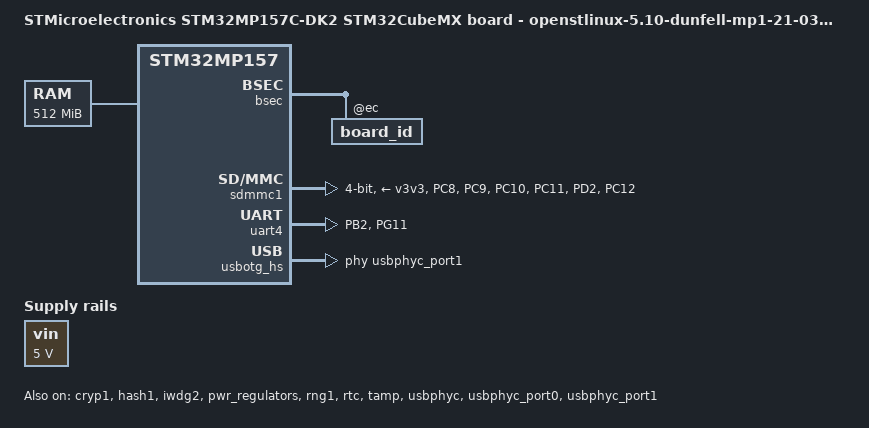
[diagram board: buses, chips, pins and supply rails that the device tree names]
/* SPDX-License-Identifier: (GPL-2.0+ OR BSD-3-Clause) */
/*
 * Copyright (C) STMicroelectronics 2021 - All Rights Reserved
 * Author: STM32CubeMX code generation for STMicroelectronics.
 */

/* For more information on Device Tree configuration, please refer to
 * https://wiki.st.com/stm32mpu/wiki/Category:Device_tree_configuration
 */

/dts-v1/;
#include <dt-bindings/pinctrl/stm32-pinfunc.h>
#include <dt-bindings/clock/stm32mp1-clksrc.h>
#include <dt-bindings/soc/st,stm32-etzpc.h>
#include "stm32mp15-mx.dtsi"

#include "stm32mp157.dtsi"
#include "stm32mp15xc.dtsi"
#include "stm32mp15xxac-pinctrl.dtsi"
#include "stm32mp15-ddr.dtsi"

/* USER CODE BEGIN includes */
#include <dt-bindings/power/stm32mp1-power.h>
/* USER CODE END includes */

/ {
	model = "STMicroelectronics STM32MP157C-DK2 STM32CubeMX board - openstlinux-5.10-dunfell-mp1-21-03-31";
	compatible = "st,stm32mp157c-race-mx", "st,stm32mp157";

	/* USER CODE BEGIN root */

	memory@c0000000{
		device_type = "memory";
		reg = <0xc0000000 0x20000000>;
	};

	vin:vin{
		compatible = "regulator-fixed";
		regulator-name = "vin";
		regulator-min-microvolt = <5000000>;
		regulator-max-microvolt = <5000000>;
		regulator-always-on;
	};

	aliases{
		serial0 = &uart4;
		serial1 = &usart3;
		serial2 = &uart7;
		serial3 = &usart2;
	};

	chosen{
		stdout-path = "serial0:115200n8";
	};
	/* USER CODE END root */

	clocks {
		/* USER CODE BEGIN clocks */
		/* USER CODE END clocks */

		clk_lse: clk-lse {
			st,drive = < LSEDRV_MEDIUM_HIGH >;

			/* USER CODE BEGIN clk_lse */
			/* USER CODE END clk_lse */
		};

		clk_hse: clk-hse {
			st,digbypass;

			/* USER CODE BEGIN clk_hse */
			/* USER CODE END clk_hse */
		};
	};

}; /*root*/

&pinctrl {
	rtc_pins_mx: rtc_mx-0 {
		pins {
			pinmux = <STM32_PINMUX('I', 8, ANALOG)>; /* RTC_LSCO */
		};
	};

	sdmmc1_pins_mx: sdmmc1_mx-0 {
		pins1 {
			pinmux = <STM32_PINMUX('C', 8, AF12)>, /* SDMMC1_D0 */
					 <STM32_PINMUX('C', 9, AF12)>, /* SDMMC1_D1 */
					 <STM32_PINMUX('C', 10, AF12)>, /* SDMMC1_D2 */
					 <STM32_PINMUX('C', 11, AF12)>, /* SDMMC1_D3 */
					 <STM32_PINMUX('D', 2, AF12)>; /* SDMMC1_CMD */
			bias-disable;
			drive-push-pull;
			slew-rate = <1>;
		};
		pins2 {
			pinmux = <STM32_PINMUX('C', 12, AF12)>; /* SDMMC1_CK */
			bias-disable;
			drive-push-pull;
			slew-rate = <2>;
		};
	};

	uart4_pins_mx: uart4_mx-0 {
		pins1 {
			pinmux = <STM32_PINMUX('B', 2, AF8)>; /* UART4_RX */
			bias-disable;
		};
		pins2 {
			pinmux = <STM32_PINMUX('G', 11, AF6)>; /* UART4_TX */
			bias-disable;
			drive-push-pull;
			slew-rate = <0>;
		};
	};

	/* USER CODE BEGIN pinctrl */
	/* USER CODE END pinctrl */
};

&pinctrl_z {
	/* USER CODE BEGIN pinctrl_z */
	/* USER CODE END pinctrl_z */
};

&rcc {
	st,csi-cal;
	st,hsi-cal;
	st,cal-sec = <60>;
	st,clksrc = <
		CLK_MPU_PLL1P
		CLK_AXI_PLL2P
		CLK_MCU_PLL3P
		CLK_PLL12_HSE
		CLK_PLL3_HSE
		CLK_PLL4_HSE
		CLK_RTC_LSE
		CLK_MCO1_DISABLED
		CLK_MCO2_DISABLED
	>;
	st,clkdiv = <
		1 		/*MPU*/
		0 		/*AXI*/
		0 		/*MCU*/
		1 		/*APB1*/
		1 		/*APB2*/
		1 		/*APB3*/
		1 		/*APB4*/
		2 		/*APB5*/
		23 		/*RTC*/
		0 		/*MCO1*/
		0 		/*MCO2*/
	>;
	st,pkcs = <
		CLK_CKPER_HSE
		CLK_ETH_PLL4P
		CLK_SDMMC12_PLL4P
		CLK_DSI_DSIPLL
		CLK_STGEN_HSE
		CLK_USBPHY_HSE
		CLK_SPI2S1_DISABLED
		CLK_SPI2S23_PLL3Q
		CLK_SPI45_DISABLED
		CLK_SPI6_DISABLED
		CLK_I2C46_DISABLED
		CLK_SDMMC3_DISABLED
		CLK_USBO_USBPHY
		CLK_ADC_CKPER
		CLK_CEC_LSE
		CLK_I2C12_DISABLED
		CLK_I2C35_PCLK1
		CLK_UART1_DISABLED
		CLK_UART24_HSI
		CLK_UART35_DISABLED
		CLK_UART6_DISABLED
		CLK_UART78_DISABLED
		CLK_SPDIF_DISABLED
		CLK_SAI1_DISABLED
		CLK_SAI2_PLL3Q
		CLK_SAI3_DISABLED
		CLK_SAI4_DISABLED
		CLK_RNG1_LSI
		CLK_LPTIM1_DISABLED
		CLK_LPTIM23_DISABLED
		CLK_LPTIM45_DISABLED
	>;
	pll2:st,pll@1 {
		compatible = "st,stm32mp1-pll";
		reg = <1>;
		cfg = < 2 65 1 0 0 PQR(1,1,1) >;
		frac = < 0x1400 >;
	};
	pll3:st,pll@2 {
		compatible = "st,stm32mp1-pll";
		reg = <2>;
		cfg = < 1 33 1 16 36 PQR(1,1,0) >;
		frac = < 0x1a04 >;
	};
	pll4:st,pll@3 {
		compatible = "st,stm32mp1-pll";
		reg = <3>;
		cfg = < 3 98 5 7 7 PQR(1,1,0) >;
	};
};

&bsec{
	status = "okay";
	secure-status = "okay";

	/* USER CODE BEGIN bsec */

	board_id:board_id@ec{
		reg = <0xec 0x4>;
		st,non-secure-otp;
	};
	/* USER CODE END bsec */
};

&cryp1{
	status = "okay";

	/* USER CODE BEGIN cryp1 */
	/* USER CODE END cryp1 */
};

&etzpc{
	st,decprot = <
	/*"Non Secured" peripherals*/
	DECPROT(STM32MP1_ETZPC_ADC_ID, DECPROT_NS_RW, DECPROT_UNLOCK)
	DECPROT(STM32MP1_ETZPC_CRYP1_ID, DECPROT_NS_RW, DECPROT_UNLOCK)
	DECPROT(STM32MP1_ETZPC_DMA1_ID, DECPROT_NS_RW, DECPROT_UNLOCK)
	DECPROT(STM32MP1_ETZPC_DMA2_ID, DECPROT_NS_RW, DECPROT_UNLOCK)
	DECPROT(STM32MP1_ETZPC_DMAMUX_ID, DECPROT_NS_RW, DECPROT_UNLOCK)
	DECPROT(STM32MP1_ETZPC_ETH_ID, DECPROT_NS_RW, DECPROT_UNLOCK)
	DECPROT(STM32MP1_ETZPC_HASH1_ID, DECPROT_NS_RW, DECPROT_UNLOCK)
	DECPROT(STM32MP1_ETZPC_CEC_ID, DECPROT_NS_RW, DECPROT_UNLOCK)
	DECPROT(STM32MP1_ETZPC_SPI2_ID, DECPROT_NS_RW, DECPROT_UNLOCK)
	DECPROT(STM32MP1_ETZPC_RNG1_ID, DECPROT_NS_RW, DECPROT_UNLOCK)
	DECPROT(STM32MP1_ETZPC_SAI2_ID, DECPROT_NS_RW, DECPROT_UNLOCK)
	DECPROT(STM32MP1_ETZPC_UART4_ID, DECPROT_NS_RW, DECPROT_UNLOCK)
	DECPROT(STM32MP1_ETZPC_OTG_ID, DECPROT_NS_RW, DECPROT_UNLOCK)
	DECPROT(STM32MP1_ETZPC_VREFBUF_ID, DECPROT_NS_RW, DECPROT_UNLOCK)
	/*"NS_R S_W" peripherals*/
	DECPROT(STM32MP1_ETZPC_DDRCTRL_ID, DECPROT_NS_R_S_W, DECPROT_LOCK)
	DECPROT(STM32MP1_ETZPC_DDRPHYC_ID, DECPROT_NS_R_S_W, DECPROT_LOCK)
	/*"Secured" peripherals*/
	DECPROT(STM32MP1_ETZPC_STGENC_ID, DECPROT_S_RW, DECPROT_UNLOCK)
	/*"Mcu Isolation" peripherals*/
	DECPROT(STM32MP1_ETZPC_I2C5_ID, DECPROT_MCU_ISOLATION, DECPROT_UNLOCK)
	DECPROT(STM32MP1_ETZPC_TIM3_ID, DECPROT_MCU_ISOLATION, DECPROT_UNLOCK)

	/*Restriction: following IDs are not managed  - please to use User-Section if needed:
		STM32MP1_ETZPC_SRAMx_ID, STM32MP1_ETZPC_RETRAM_ID, STM32MP1_ETZPC_BKPSRAM_ID*/

	/* USER CODE BEGIN etzpc_decprot */
		/*STM32CubeMX generates a basic and standard configuration for ETZPC.
		Additional device configurations can be added here if needed.
		"etzpc" node could be also overloaded in "addons" User-Section.*/

	DECPROT(STM32MP1_ETZPC_BKPSRAM_ID, DECPROT_S_RW, DECPROT_UNLOCK)
	/* USER CODE END etzpc_decprot */
	>;

	secure-status = "okay";

	/* USER CODE BEGIN etzpc */
	/* USER CODE END etzpc */
};

&hash1{
	status = "okay";

	/* USER CODE BEGIN hash1 */
	/* USER CODE END hash1 */
};

&iwdg2{
	status = "okay";
	secure-status = "okay";

	/* USER CODE BEGIN iwdg2 */
	timeout-sec = <32>;
	secure-timeout-sec = <5>;
	/* USER CODE END iwdg2 */
};

&pwr_regulators{
	status = "okay";
	secure-status = "okay";

	/* USER CODE BEGIN pwr_regulators */
	system_suspend_supported_soc_modes = <
		STM32_PM_CSLEEP_RUN
		STM32_PM_CSTOP_ALLOW_LP_STOP
		STM32_PM_CSTOP_ALLOW_STANDBY_DDR_SR
	>;
	system_off_soc_mode = <STM32_PM_CSTOP_ALLOW_STANDBY_DDR_OFF>;
	vdd-supply = <&vdd>;
	vdd_3v3_usbfs-supply = <&vdd_usb>;
	/* USER CODE END pwr_regulators */
};

&rcc{
	status = "okay";
	secure-status = "okay";

	/* USER CODE BEGIN rcc */
	/* USER CODE END rcc */
};

&rng1{
	status = "okay";
	secure-status = "okay";

	/* USER CODE BEGIN rng1 */
	/* USER CODE END rng1 */
};

&rtc{
	pinctrl-names = "default";
	pinctrl-0 = <&rtc_pins_mx>;
	status = "okay";
	secure-status = "okay";

	/* USER CODE BEGIN rtc */
	/* USER CODE END rtc */
};

&sdmmc1{
	pinctrl-names = "default";
	pinctrl-0 = <&sdmmc1_pins_mx>;
	status = "okay";

	/* USER CODE BEGIN sdmmc1 */
	disable-wp;
	st,neg-edge;
	bus-width = <4>;
	vmmc-supply = <&v3v3>;
	/* USER CODE END sdmmc1 */
};

&tamp{
	status = "okay";
	secure-status = "okay";

	/* USER CODE BEGIN tamp */
	/* USER CODE END tamp */
};

&uart4{
	pinctrl-names = "default";
	pinctrl-0 = <&uart4_pins_mx>;
	status = "okay";

	/* USER CODE BEGIN uart4 */
	/* USER CODE END uart4 */
};

&usbotg_hs{
	status = "okay";

	/* USER CODE BEGIN usbotg_hs */
	phys = <&usbphyc_port1 0>;
	phy-names = "usb2-phy";
	usb-role-switch;
	/* USER CODE END usbotg_hs */
};

&usbphyc{
	status = "okay";

	/* USER CODE BEGIN usbphyc */
	/* USER CODE END usbphyc */
};

&usbphyc_port0{
	status = "okay";

	/* USER CODE BEGIN usbphyc_port0 */
	phy-supply = <&vdd_usb>;
	/* USER CODE END usbphyc_port0 */
};

&usbphyc_port1{
	status = "okay";

	/* USER CODE BEGIN usbphyc_port1 */
	phy-supply = <&vdd_usb>;
	/* USER CODE END usbphyc_port1 */
};

/* USER CODE BEGIN addons */

&cpu0{
	cpu-supply = <&vddcore>;
};

&cpu1{
	cpu-supply = <&vddcore>;
};

&nvmem_layout{
	nvmem-cells = <&cfg0_otp>,
			<&part_number_otp>,
			<&monotonic_otp>,
			<&nand_otp>,
			<&uid_otp>,
			<&package_otp>,
			<&hw2_otp>,
			<&pkh_otp>,
			<&board_id>;
	nvmem-cell-names = "cfg0_otp",
			"part_number_otp",
			"monotonic_otp",
			"nand_otp",
			"uid_otp",
			"package_otp",
			"hw2_otp",
			"pkh_otp",
			"board_id";
};

&timers15{
	secure-status = "okay";
	st,hsi-cal-input = <7>;
	st,csi-cal-input = <8>;
};
/* USER CODE END addons */

